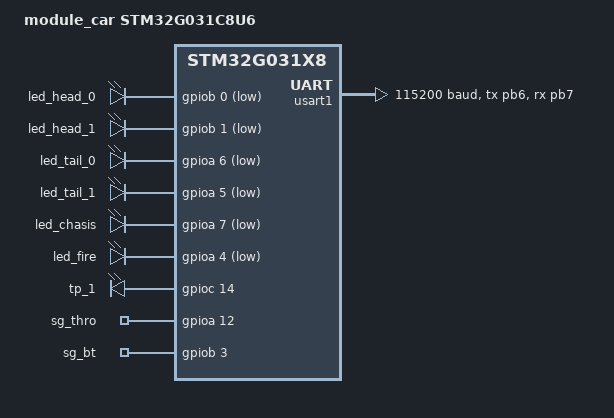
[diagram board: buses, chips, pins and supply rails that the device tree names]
/*
 * Copyright (c) 2019 SEAL AG
 *
 * SPDX-License-Identifier: Apache-2.0
 */

/dts-v1/;
#include <st/g0/stm32g031X8.dtsi>
#include <st/g0/stm32g031g(4-6-8)ux-pinctrl.dtsi>

/ {
	model = "module_car STM32G031C8U6";
	compatible = "st,module_car";

	chosen {
		zephyr,console = &usart1;
		zephyr,shell-uart = &usart1;
		zephyr,sram = &sram0;
		zephyr,flash = &flash0;
	};

	leds {
		compatible = "gpio-leds";
		led_head_0: led_head_0 {
			gpios = <&gpiob 0 GPIO_ACTIVE_LOW>;
		};

        led_head_1: led_head_1 {
            gpios = <&gpiob 1 GPIO_ACTIVE_LOW>;
        };

        led_tail_0: led_tail_0 {
            gpios = <&gpioa 6 GPIO_ACTIVE_LOW>;
        };

        led_tail_1: led_tail_1 {
            gpios = <&gpioa 5 GPIO_ACTIVE_LOW>;
        };

        led_chasis: led_chasis {
            gpios = <&gpioa 7 GPIO_ACTIVE_LOW>;
        };

        led_fire: led_fire {
            gpios = <&gpioa 4 GPIO_ACTIVE_LOW>;
        };

        tp_1: tp_1 {
            gpios = <&gpioc 14 GPIO_ACTIVE_HIGH>;
        };
	};

	gpio_keys {
		compatible = "gpio-keys";
		sg_thro: sg_thro {
			gpios = <&gpioa 12 GPIO_ACTIVE_HIGH>;
		};

        sg_bt: sg_bt {
            gpios = <&gpiob 3 GPIO_ACTIVE_HIGH>;
        };
	};
};

&clk_hsi {
	status = "okay";
};

&pll {
	div-m = <1>;
	mul-n = <8>;
	div-p = <2>;
	div-q = <2>;
	div-r = <2>;
	clocks = <&clk_hsi>;
	status = "okay";
};

&rcc {
	clocks = <&pll>;
	clock-frequency = <DT_FREQ_M(64)>;
	ahb-prescaler = <1>;
	apb1-prescaler = <1>;
};

&usart1 {
	pinctrl-0 = <&usart1_tx_pb6 &usart1_rx_pb7>;
	pinctrl-names = "default";
	current-speed = <115200>;
	status = "okay";
};
